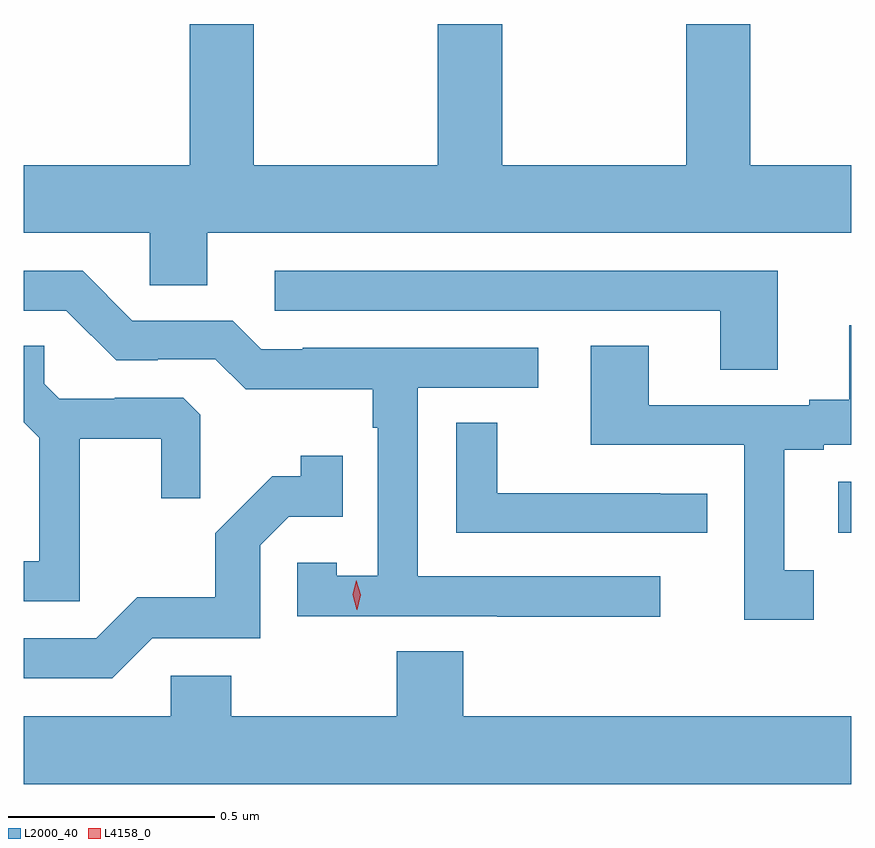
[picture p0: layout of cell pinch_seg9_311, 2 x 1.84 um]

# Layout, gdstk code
import gdstk
lib = gdstk.Library(unit=1e-6, precision=1e-09)
def R(c, l, rs):  # rectangles x0, y0, x1, y1
    for r in rs: c.add(gdstk.rectangle(r[:2], r[2:], *l))
def P(c, l, *ps):  # polygons
    for p in ps: c.add(gdstk.Polygon(p, *l))
L2000_40 = (2000, 40)
L4158_0 = (4158, 0)

pinch_seg9_311 = lib.new_cell('pinch_seg9_311')
R(pinch_seg9_311, L2000_40, [(480.195,1193.031,480.226,1193.155)])
P(pinch_seg9_311, L2000_40, [(478.669,1193.756),(480.226,1193.756),(480.226,1193.92),(479.982,1193.92),(479.982,1194.261),(479.827,1194.261),(479.827,1193.92),(479.382,1193.92),(479.382,1194.261),(479.227,1194.261),(479.227,1193.92),(478.782,1193.92),(478.782,1194.261),(478.627,1194.261),(478.627,1193.92),(478.226,1193.92),(478.226,1193.756),(478.53,1193.756),(478.53,1193.629),(478.669,1193.629)],
  [(479.764,1192.926),(479.178,1192.926),(479.178,1193.382),(479.47,1193.382),(479.47,1193.478),(478.9,1193.478),(478.9,1193.475),(478.8,1193.475),(478.731,1193.544),(478.488,1193.544),(478.368,1193.664),(478.226,1193.664),(478.226,1193.568),(478.329,1193.568),(478.449,1193.448),(478.55,1193.448),(478.55,1193.451),(478.689,1193.451),(478.762,1193.378),(479.07,1193.378),(479.07,1193.285),(479.082,1193.285),(479.082,1192.927),(478.983,1192.927),(478.983,1192.959),(478.887,1192.959),(478.887,1192.83),(479.371,1192.83),(479.371,1192.828),(479.764,1192.828)],
  [(480.049,1193.664),(478.833,1193.664),(478.833,1193.568),(479.909,1193.568),(479.909,1193.425),(480.049,1193.425)],
  [(480.136,1192.941),(480.064,1192.941),(480.064,1193.232),(480.16,1193.232),(480.16,1193.244),(480.226,1193.244),(480.226,1193.533),(480.221,1193.533),(480.221,1193.353),(480.125,1193.353),(480.125,1193.34),(479.737,1193.34),(479.737,1193.483),(479.597,1193.483),(479.597,1193.244),(479.967,1193.244),(479.967,1192.821),(480.136,1192.821)],
  [(478.361,1193.258),(478.558,1193.258),(478.558,1193.115),(478.652,1193.115),(478.652,1193.317),(478.611,1193.358),(478.446,1193.358),(478.446,1193.355),(478.312,1193.355),(478.275,1193.392),(478.275,1193.483),(478.226,1193.483),(478.226,1193.298),(478.263,1193.261),(478.263,1192.962),(478.226,1192.962),(478.226,1192.866),(478.361,1192.866)],
  [(479.878,1193.126),(479.765,1193.126),(479.765,1193.127),(479.37,1193.127),(479.37,1193.297),(479.271,1193.297),(479.271,1193.031),(479.878,1193.031)],
  [(478.536,1192.776),(478.797,1192.776),(478.797,1193.001),(478.866,1193.07),(478.997,1193.07),(478.997,1193.218),(478.896,1193.218),(478.896,1193.168),(478.826,1193.168),(478.689,1193.03),(478.689,1192.875),(478.5,1192.875),(478.401,1192.776),(478.226,1192.776),(478.226,1192.68),(478.44,1192.68)],
  [(480.226,1192.588),(479.288,1192.588),(479.288,1192.745),(479.128,1192.745),(479.128,1192.588),(478.728,1192.588),(478.728,1192.686),(478.581,1192.686),(478.581,1192.588),(478.226,1192.588),(478.226,1192.424),(480.226,1192.424)])
P(pinch_seg9_311, L4158_0, [(479.031,1192.845),(479.021,1192.881),(479.03,1192.917),(479.03,1192.917),(479.03,1192.917),(479.041,1192.881),(479.032,1192.845),(479.032,1192.845)])

lib.write_gds('pinch_seg9_311.gds')
